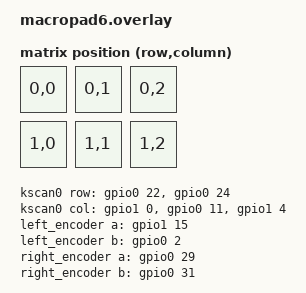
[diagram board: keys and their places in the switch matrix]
/*
 * 6 键宏键盘 + 2 个 EC11 旋钮
 * 主控: nice!nano v2 (nRF52840) 兼容板
 *
 * 接线对照（板上丝印 / 芯片引脚）:
 *   行 1 -> 022 (P0.22)   行 2 -> 024 (P0.24)
 *   列 1 -> 100 (P1.00)   列 2 -> 011 (P0.11)   列 3 -> 104 (P1.04)
 *   旋钮 1: A -> 115 (P1.15), B -> 002 (P0.02), C -> GND
 *   旋钮 2: A -> 029 (P0.29), B -> 031 (P0.31), C -> GND
 *   电池: B+ / B-（正极串拨动开关）
 *   二极管方向: 黑环端朝行线 (col2row)
 */

#include <dt-bindings/zmk/matrix_transform.h>
#include <physical_layouts.dtsi>

/ {
    chosen {
        zmk,kscan = &kscan0;
        zmk,matrix_transform = &default_transform;
        zmk,physical-layout = &macropad6_physical_layout;
    };

    default_transform: keymap_transform_0 {
        compatible = "zmk,matrix-transform";
        columns = <3>;
        rows = <2>;
        map = <
            RC(0,0) RC(0,1) RC(0,2)
            RC(1,0) RC(1,1) RC(1,2)
        >;
    };

    kscan0: kscan {
        compatible = "zmk,kscan-gpio-matrix";
        diode-direction = "col2row";
        wakeup-source;

        row-gpios
            = <&gpio0 22 (GPIO_ACTIVE_HIGH | GPIO_PULL_DOWN)>   /* 022 -> 行 1 */
            , <&gpio0 24 (GPIO_ACTIVE_HIGH | GPIO_PULL_DOWN)>   /* 024 -> 行 2 */
            ;
        col-gpios
            = <&gpio1 0 GPIO_ACTIVE_HIGH>                       /* 100 -> 列 1 */
            , <&gpio0 11 GPIO_ACTIVE_HIGH>                      /* 011 -> 列 2 */
            , <&gpio1 4 GPIO_ACTIVE_HIGH>                       /* 104 -> 列 3 */
            ;
    };

    /* 物理布局：给 ZMK Studio 网页改键画键盘用，不影响按键功能 */
    macropad6_physical_layout: macropad6_physical_layout {
        compatible = "zmk,physical-layout";
        display-name = "Macropad6";
        transform = <&default_transform>;
        kscan = <&kscan0>;

        keys  //                     w   h    x    y   rot   rx   ry
            = <&key_physical_attrs 100 100    0    0     0    0    0>
            , <&key_physical_attrs 100 100  110    0     0    0    0>
            , <&key_physical_attrs 100 100  220    0     0    0    0>
            , <&key_physical_attrs 100 100    0  110     0    0    0>
            , <&key_physical_attrs 100 100  110  110     0    0    0>
            , <&key_physical_attrs 100 100  220  110     0    0    0>
            ;
    };

    left_encoder: encoder_left {
        compatible = "alps,ec11";
        a-gpios = <&gpio1 15 (GPIO_ACTIVE_HIGH | GPIO_PULL_UP)>;  /* 115 -> 旋钮1 A */
        b-gpios = <&gpio0 2 (GPIO_ACTIVE_HIGH | GPIO_PULL_UP)>;   /* 002 -> 旋钮1 B */
        steps = <80>;
        status = "okay";
    };

    right_encoder: encoder_right {
        compatible = "alps,ec11";
        a-gpios = <&gpio0 29 (GPIO_ACTIVE_HIGH | GPIO_PULL_UP)>;  /* 029 -> 旋钮2 A */
        b-gpios = <&gpio0 31 (GPIO_ACTIVE_HIGH | GPIO_PULL_UP)>;  /* 031 -> 旋钮2 B */
        steps = <80>;
        status = "okay";
    };

    sensors: sensors {
        compatible = "zmk,keymap-sensors";
        sensors = <&left_encoder &right_encoder>;
        triggers-per-rotation = <20>;
    };
};
